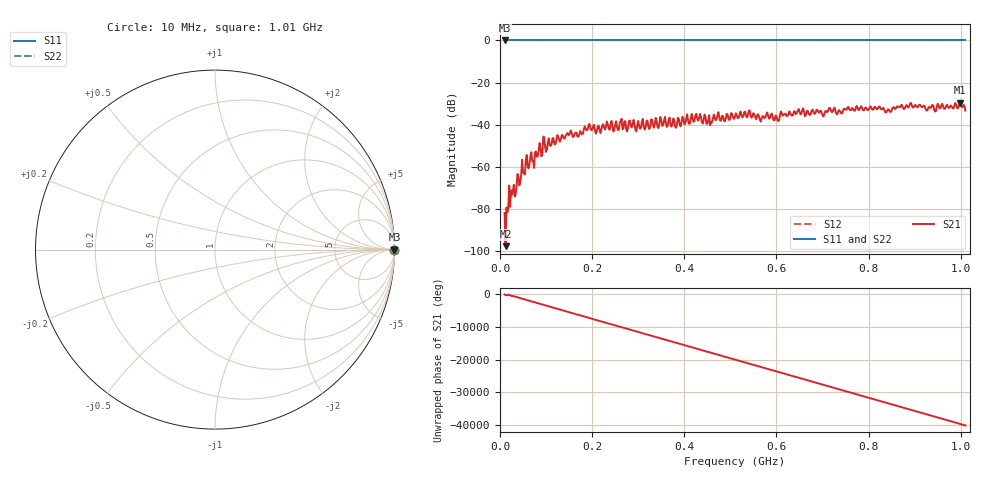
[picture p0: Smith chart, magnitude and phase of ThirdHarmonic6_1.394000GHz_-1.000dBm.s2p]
! 8/16/2025 3:54:27 PM
! C:\ANRITSUVNA\TEMP\TEMP.S2P
! CHANNEL.1
! TR.MEASUREMENT
! RAW.DATA
! RF.CORRECTION.OFF
! AVERAGING.OFF
! IF.BANDWIDTH: 5KHZ
! SWEEPTYPE:  FREQ.SWEEP(Linear)
! Reference Plane Port Info
! PORT:  PORT1  PORT2
! DISTANCE:  0  m  0  m
! TIME:  0  s  0  s
! PHASE.OFFSET:  0  deg.  0  deg.
! LOSS:  0  dB  0  dB
! REF.LOSS:  0  dB  0  dB
! REF.FREQ:  0  Hz  0  Hz
! Power Info
! POWER:  -20  dBm  -20  dBm
! EFF.POWER:  -20  dBm  -20  dBm
! SOURCE.ATTEN:  0  dB  0  dB
! TEST.ATTEN:  0  dB  0  dB
# GHZ S RI R 50.0
! FREQ.GHZ  S11RE  S11IM  S21RE  S21IM  S12RE  S12IM  S22RE  S22IM
!; PortSelection: Port_12
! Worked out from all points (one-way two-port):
!   501 points, 10 MHz to 1.01 GHz, reference 50 ohm
!   highest |S21| = -29.57 dB at 998 MHz (marker M1); lowest = -97.6 dB at 12 MHz (marker M2)
!   lowest |S11| = 0.0 dB at 10 MHz (marker M3)
!   |S11| at or under -10 dB: nowhere
!   |S22| runs from 0.0 to 0.0 dB; largest |S21 - S12| = 1
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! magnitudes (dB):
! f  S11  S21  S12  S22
! 10 MHz  0.0  -81.8  0.0  0.0
! 12 MHz  0.0  -97.6  0.0  0.0
! 24 MHz  0.0  -71.1  0.0  0.0
! 30 MHz  0.0  -68.5  0.0  0.0
! 52 MHz  0.0  -63.1  0.0  0.0
! 78 MHz  0.0  -52.7  0.0  0.0
! 92 MHz  0.0  -53.7  0.0  0.0
! 150 MHz  0.0  -44.9  0.0  0.0
! 178 MHz  0.0  -44.6  0.0  0.0
! 192 MHz  0.0  -40.6  0.0  0.0
! 344 MHz  0.0  -41.5  0.0  0.0
! 510 MHz  0.0  -36.1  0.0  0.0
! 540 MHz  0.0  -33.3  0.0  0.0
! 600 MHz  0.0  -35.8  0.0  0.0
! 612 MHz  0.0  -34.8  0.0  0.0
! 678 MHz  0.0  -32.8  0.0  0.0
! 778 MHz  0.0  -33.0  0.0  0.0
! 844 MHz  0.0  -32.9  0.0  0.0
! 890 MHz  0.0  -29.9  0.0  0.0
! 928 MHz  0.0  -33.0  0.0  0.0
! 998 MHz  0.0  -29.6  0.0  0.0
! 1.01 GHz  0.0  -33.3  0.0  0.0
